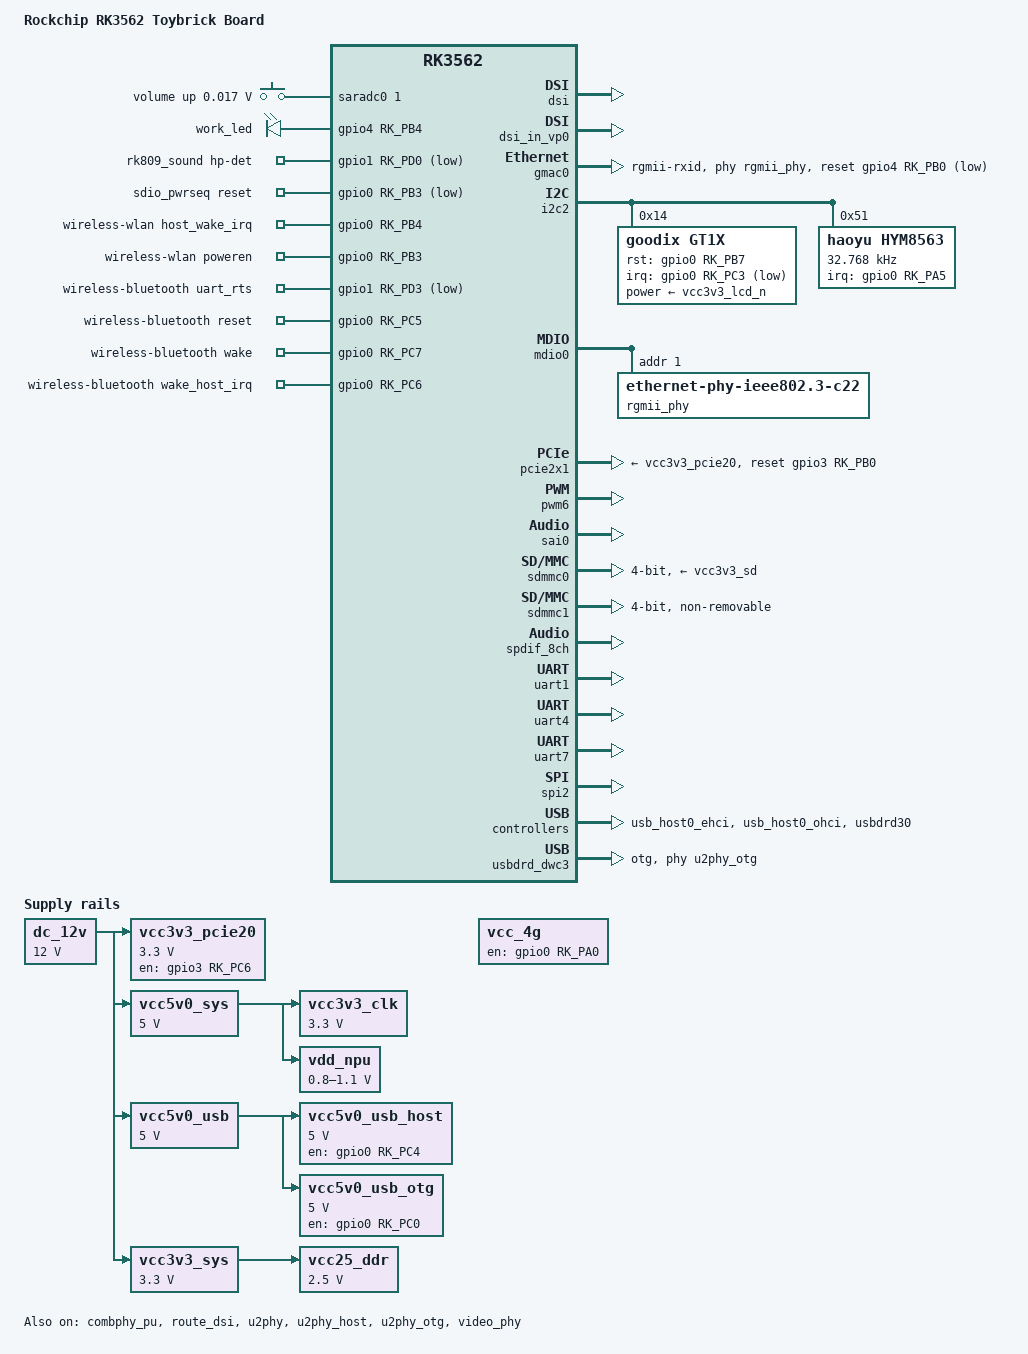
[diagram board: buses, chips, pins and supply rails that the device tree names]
// SPDX-License-Identifier: (GPL-2.0+ OR MIT)
/*
 * Copyright (c) 2022 Rockchip Electronics Co., Ltd.
 *
 */

/dts-v1/;

#include "rk3562.dtsi"
#include "rk3562-evb.dtsi"
#include <dt-bindings/gpio/gpio.h>
#include <dt-bindings/pinctrl/rockchip.h>
#include <dt-bindings/sensor-dev.h>

/ {
	model = "Rockchip RK3562 Toybrick Board";
	compatible = "rockchip,rk3562-toybrick", "rockchip,rk3562";

	adc_keys: adc-keys {
		status = "okay";
		compatible = "adc-keys";
		io-channels = <&saradc0 1>;
		io-channel-names = "buttons";
		keyup-threshold-microvolt = <1800000>;
		poll-interval = <100>;

		vol-up-key {
			label = "volume up";
			linux,code = <KEY_VOLUMEUP>;
			press-threshold-microvolt = <17000>;
		};
	};

	dc_12v: dc-12v {
		compatible = "regulator-fixed";
		regulator-name = "dc_12v";
		regulator-always-on;
		regulator-boot-on;
		regulator-min-microvolt = <12000000>;
		regulator-max-microvolt = <12000000>;
	};

	leds: leds {
		compatible = "gpio-leds";
		status = "okay";
		led@1 {
			gpios = <&gpio4 RK_PB4 GPIO_ACTIVE_HIGH>;
			label = "work_led";
			default-state = "on";
			linux,default-trigger = "default-on";
			pinctrl-names = "default";
			pinctrl-0 = <&work_led>;
		};
	};

	rk809_sound: rk809-sound {
		status = "okay";
		compatible = "rockchip,multicodecs-card";
		rockchip,card-name = "rockchip-rk809";
		hp-det-gpio = <&gpio1 RK_PD0 GPIO_ACTIVE_LOW>;
		rockchip,format = "i2s";
		rockchip,mclk-fs = <256>;
		rockchip,cpu = <&sai0>;
		rockchip,codec = <&rk809_codec>;
		pinctrl-names = "default";
		pinctrl-0 = <&hp_det>;
	};

	sdio_pwrseq: sdio-pwrseq {
		compatible = "mmc-pwrseq-simple";
		clocks = <&rk809 1>;
		clock-names = "ext_clock";
		pinctrl-names = "default";
		pinctrl-0 = <&wifi_enable_h>;

		/*
		 * On the module itself this is one of these (depending
		 * on the actual card populated):
		 * - SDIO_RESET_L_WL_REG_ON
		 * - PDN (power down when low)
		 */
		post-power-on-delay-ms = <200>;
		reset-gpios = <&gpio0 RK_PB3 GPIO_ACTIVE_LOW>;
	};

	vcc3v3_pcie20: vcc3v3-pcie20 {
		compatible = "regulator-fixed";
		regulator-name = "vcc3v3_pcie20";
		regulator-min-microvolt = <3300000>;
		regulator-max-microvolt = <3300000>;
		enable-active-high;
		gpios = <&gpio3 RK_PC6 GPIO_ACTIVE_HIGH>;
		startup-delay-us = <5000>;
		vin-supply = <&dc_12v>;
	};

	vcc5v0_sys: vcc5v0-sys {
		compatible = "regulator-fixed";
		regulator-name = "vcc5v0_sys";
		regulator-always-on;
		regulator-boot-on;
		regulator-min-microvolt = <5000000>;
		regulator-max-microvolt = <5000000>;
		vin-supply = <&dc_12v>;
	};

	vcc5v0_usb: vcc5v0-usb {
		compatible = "regulator-fixed";
		regulator-name = "vcc5v0_usb";
		regulator-always-on;
		regulator-boot-on;
		regulator-min-microvolt = <5000000>;
		regulator-max-microvolt = <5000000>;
		vin-supply = <&dc_12v>;
	};

	vcc5v0_usb_host: vcc5v0-usb-host {
		compatible = "regulator-fixed";
		regulator-name = "vcc5v0_usb_host";
		regulator-boot-on;
		regulator-always-on;
		regulator-min-microvolt = <5000000>;
		regulator-max-microvolt = <5000000>;
		enable-active-high;
		gpio = <&gpio0 RK_PC4 GPIO_ACTIVE_HIGH>;
		vin-supply = <&vcc5v0_usb>;
		pinctrl-names = "default";
		pinctrl-0 = <&usb_host_pwren>;
	};

	vcc5v0_usb_otg: vcc5v0-usb-otg {
		compatible = "regulator-fixed";
		regulator-name = "vcc5v0_usb_otg";
		regulator-min-microvolt = <5000000>;
		regulator-max-microvolt = <5000000>;
		enable-active-high;
		gpio = <&gpio0 RK_PC0 GPIO_ACTIVE_HIGH>;
		vin-supply = <&vcc5v0_usb>;
		pinctrl-names = "default";
		pinctrl-0 = <&usb_otg_pwren>;
	};

	vcc3v3_clk: vcc3v3-clk {
		compatible = "regulator-fixed";
		regulator-name = "vcc3v3_clk";
		regulator-min-microvolt = <3300000>;
		regulator-max-microvolt = <3300000>;
		vin-supply = <&vcc5v0_sys>;
	};

	vcc3v3_sys: vcc-sys {
		compatible = "regulator-fixed";
		regulator-name = "vcc3v3_sys";
		regulator-always-on;
		regulator-boot-on;
		regulator-min-microvolt = <3300000>;
		regulator-max-microvolt = <3300000>;
		vin-supply = <&dc_12v>;
	};

	vcc25_ddr: vcc25-ddr {
		compatible = "regulator-fixed";
		regulator-name = "vcc25_ddr";
		regulator-always-on;
		regulator-boot-on;
		regulator-min-microvolt = <2500000>;
		regulator-max-microvolt = <2500000>;
		vin-supply = <&vcc3v3_sys>;
	};

	vdd_npu: vdd-npu {
		compatible = "pwm-regulator";
		pwms = <&pwm6 0 5000 1>;
		regulator-name = "vdd_npu";
		regulator-min-microvolt = <800000>;
		regulator-max-microvolt = <1100000>;
		regulator-init-microvolt = <900000>;
		regulator-always-on;
		regulator-boot-on;
		regulator-settling-time-up-us = <250>;
		pwm-supply = <&vcc5v0_sys>;
		status = "okay";
	};

	vcc_4g: vcc-4g-regulator {
			compatible = "regulator-fixed";
			enable-active-high;
			gpio = <&gpio0 RK_PA0 GPIO_ACTIVE_HIGH>;
			pinctrl-names = "default";
			pinctrl-0 = <&vcc_4g_drv>;
			regulator-name = "vcc_4g";
			regulator-always-on;
			regulator-boot-on;
	};

	wireless-wlan {
		compatible = "wlan-platdata";
		rockchip,grf = <&sys_grf>;
		wifi_chip_type = "ap6275s";
		pinctrl-names = "default";
		pinctrl-0 = <&wifi_host_wake_irq>;
		WIFI,host_wake_irq = <&gpio0 RK_PB4 GPIO_ACTIVE_HIGH>;
		WIFI,poweren_gpio = <&gpio0 RK_PB3 GPIO_ACTIVE_HIGH>;
		status = "okay";
	};

	wireless-bluetooth {
		compatible = "bluetooth-platdata";
		clocks = <&rk809 1>;
		clock-names = "ext_clock";
		//wifi-bt-power-toggle;
		uart_rts_gpios = <&gpio1 RK_PD3 GPIO_ACTIVE_LOW>;
		pinctrl-names = "default", "rts_gpio";
		pinctrl-0 = <&uart1m0_rtsn>;
		pinctrl-1 = <&uart1_gpios>;
		BT,reset_gpio    = <&gpio0 RK_PC5 GPIO_ACTIVE_HIGH>;
		BT,wake_gpio     = <&gpio0 RK_PC7 GPIO_ACTIVE_HIGH>;
		BT,wake_host_irq = <&gpio0 RK_PC6 GPIO_ACTIVE_HIGH>;
		status = "okay";
	};
};

&combphy_pu {
	status = "okay";
};

&dsi {
	status = "okay";
};

&dsi_in_vp0 {
	status = "okay";
};

&dsi_panel {
	power-supply = <&vcc3v3_lcd_n>;
	reset-gpios = <&gpio0 RK_PA7 GPIO_ACTIVE_LOW>;
	pinctrl-names = "default";
	pinctrl-0 = <&lcd_rst_gpio>;
};

&gmac0 {
	/* Use rgmii-rxid mode to disable rx delay inside Soc */
	phy-mode = "rgmii-rxid";
	clock_in_out = "output";

	snps,reset-gpio = <&gpio4 RK_PB0 GPIO_ACTIVE_LOW>;
	snps,reset-active-low;
	/* Reset time is 20ms, 100ms for rtl8211f */
	snps,reset-delays-us = <0 20000 100000>;

	tx_delay = <0x42>;
	/* rx_delay = <0x3f>; */

	pinctrl-names = "default";
	pinctrl-0 = <&rgmiim0_miim
		     &rgmiim0_tx_bus2
		     &rgmiim0_rx_bus2
		     &rgmiim0_rgmii_clk
		     &rgmiim0_rgmii_bus
		     &ethm0_pins>;

	phy-handle = <&rgmii_phy>;
	status = "okay";
};

&i2c2 {
	status = "okay";

	gt1x: gt1x@14 {
		compatible = "goodix,gt1x";
		reg = <0x14>;
		pinctrl-names = "default";
		pinctrl-0 = <&touch_gpio>;
		goodix,rst-gpio = <&gpio0 RK_PB7 GPIO_ACTIVE_HIGH>;
		goodix,irq-gpio = <&gpio0 RK_PC3 GPIO_ACTIVE_LOW>;
		/*
		 * power-supply should switche to vcc3v3_lcd1_n
		 * when mipi panel is connected to dsi1.
		 */
		power-supply = <&vcc3v3_lcd_n>;
	};

	hym8563: hym8563@51 {
		compatible = "haoyu,hym8563";
		reg = <0x51>;
		#clock-cells = <0>;
		clock-frequency = <32768>;
		clock-output-names = "hym8563";
		pinctrl-names = "default";
		pinctrl-0 = <&hym8563_int>;
		interrupt-parent = <&gpio0>;
		interrupts = <RK_PA5 IRQ_TYPE_LEVEL_LOW>;
		wakeup-source;
	};
};

&mdio0 {
	rgmii_phy: phy@1 {
		compatible = "ethernet-phy-ieee802.3-c22";
		reg = <0x1>;
		clocks = <&cru CLK_GMAC_ETH_OUT2IO>;
		assigned-clocks = <&cru CLK_GMAC_ETH_OUT2IO>;
		assigned-clock-rates = <25000000>;
	};
};

&pcie2x1 {
	reset-gpios = <&gpio3 RK_PB0 GPIO_ACTIVE_HIGH>;
	vpcie3v3-supply = <&vcc3v3_pcie20>;
	status = "okay";
};

&pinctrl {
	headphone {
		hp_det: hp-det {
			rockchip,pins = <1 RK_PD0 RK_FUNC_GPIO &pcfg_pull_none>;
		};
	};

	lcd {
		lcd_rst_gpio: lcd-rst-gpio {
			rockchip,pins = <0 RK_PA7 RK_FUNC_GPIO &pcfg_pull_none>;
		};
	};

	led {
		work_led: work-led {
			rockchip,pins = <4 RK_PB4 RK_FUNC_GPIO &pcfg_pull_up>;
		};
	};

	rtc {
		hym8563_int: hym8563-int {
			rockchip,pins = <0 RK_PA5 RK_FUNC_GPIO &pcfg_pull_up>;
		};
	};

	touch {
		touch_gpio: touch-gpio {
			rockchip,pins =
				<0 RK_PB7 RK_FUNC_GPIO &pcfg_pull_up>,
				<0 RK_PC3 RK_FUNC_GPIO &pcfg_pull_none>;
		};
	};

	sdio-pwrseq {
		wifi_enable_h: wifi-enable-h {
			rockchip,pins = <0 RK_PB3 RK_FUNC_GPIO &pcfg_pull_none>;
		};
	};

	usb {
		usb_host_pwren: usb-host-pwren {
			rockchip,pins = <0 RK_PC4 RK_FUNC_GPIO &pcfg_pull_none>;
		};

		usb_otg_pwren: usb-otg-pwren {
			rockchip,pins = <0 RK_PC0 RK_FUNC_GPIO &pcfg_pull_none>;
		};
	};

	4g {
		vcc_4g_drv: vcc-4g-drv {
			rockchip,pins =
				<0 RK_PA0 RK_FUNC_GPIO &pcfg_pull_up>, // 4G_PWR_EN
				<1 RK_PD7 RK_FUNC_GPIO &pcfg_output_low>, // 4G_ENABLE
				<1 RK_PD6 RK_FUNC_GPIO &pcfg_output_high>; // 4G_RESET
		};
	};

	wireless-wlan {
		wifi_host_wake_irq: wifi-host-wake-irq {
			rockchip,pins = <0 RK_PB4 RK_FUNC_GPIO &pcfg_pull_down>;
		};
	};

	wireless-bluetooth {
		uart1_gpios: uart1-gpios {
			rockchip,pins = <1 RK_PD3 RK_FUNC_GPIO &pcfg_pull_none>;
		};
	};
};

&pwm6 {
	status = "okay";
};

&route_dsi {
	status = "okay";
};

&sai0 {
	status = "okay";
	pinctrl-names = "default";
	pinctrl-0 = <&i2s0m0_lrck
		     &i2s0m0_sclk
		     &i2s0m0_sdi0
		     &i2s0m0_sdo0>;
};

&sdmmc0 {
	no-sdio;
	no-mmc;
	bus-width = <4>;
	cap-mmc-highspeed;
	cap-sd-highspeed;
	disable-wp;
	sd-uhs-sdr104;
	vmmc-supply = <&vcc3v3_sd>;
	vqmmc-supply = <&vccio_sd>;
	pinctrl-names = "default";
	pinctrl-0 = <&sdmmc0_bus4 &sdmmc0_clk &sdmmc0_cmd &sdmmc0_det>;
	status = "okay";
};

&sdmmc1 {
	no-sd;
	no-mmc;
	bus-width = <4>;
	disable-wp;
	cap-sd-highspeed;
	cap-sdio-irq;
	keep-power-in-suspend;
	mmc-pwrseq = <&sdio_pwrseq>;
	non-removable;
	pinctrl-names = "default";
	pinctrl-0 = <&sdmmc1_bus4 &sdmmc1_cmd &sdmmc1_clk>;
	sd-uhs-sdr104;
	status = "okay";
};

&spdif_8ch {
	pinctrl-0 = <&spdifm0_pins>;
	status = "okay";
};

&u2phy {
	status = "okay";
};

&u2phy_host {
	status = "okay";
	phy-supply = <&vcc5v0_usb_host>;
};

&u2phy_otg {
	status = "okay";
	vbus-supply = <&vcc5v0_usb_otg>;
};

&uart1 {
	status = "okay";
	pinctrl-names = "default";
	pinctrl-0 = <&uart1m0_xfer &uart1m0_ctsn>;
};

&uart4 {
	status = "okay";
	pinctrl-names = "default";
	pinctrl-0 = <&uart4m0_xfer>;
};

&uart7 {
	status = "okay";
	pinctrl-names = "default";
	pinctrl-0 = <&uart7m0_xfer>;
};

&spi2 {
	status = "okay";
	pinctrl-names = "default";
	pinctrl-0 = <&spi2m0_csn0 &spi2m0_pins>;
};

&usb_host0_ehci {
	status = "okay";
};

&usb_host0_ohci {
	status = "okay";
};

&usbdrd30 {
	status = "okay";
};

&usbdrd_dwc3 {
	status = "okay";
	dr_mode = "otg";
	extcon = <&u2phy>;
	maximum-speed = "high-speed";
	phys = <&u2phy_otg>;
	phy-names = "usb2-phy";
	snps,dis_u2_susphy_quirk;
	snps,usb2-lpm-disable;
};

&vcc3v3_lcd_n {
	gpio = <&gpio0 RK_PB0 GPIO_ACTIVE_HIGH>;
	enable-active-high;
};

&video_phy {
	status = "okay";
};
